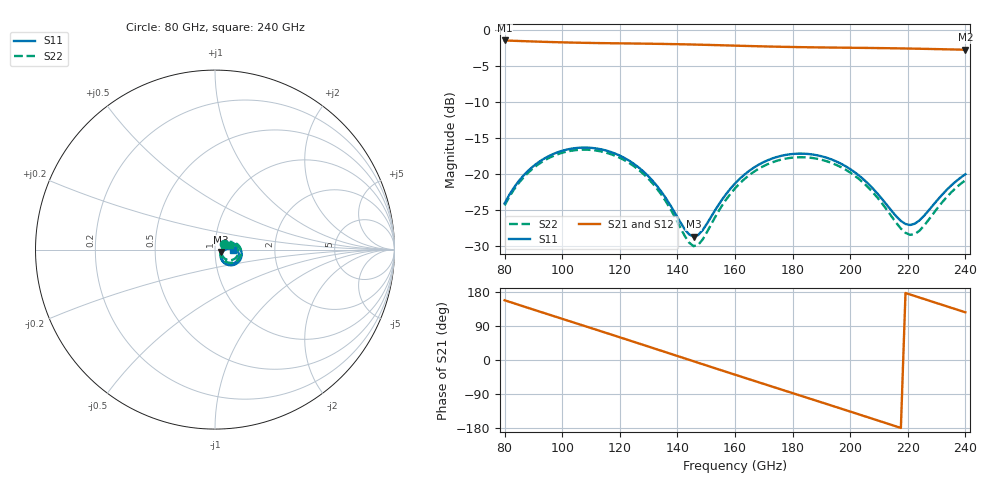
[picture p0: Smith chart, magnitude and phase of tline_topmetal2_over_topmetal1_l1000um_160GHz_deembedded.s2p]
! Created with skrf 2.0.1 (http://scikit-rf.org).
# GHz S DB R 50.0
!freq dBS11 angS11 dBS21 angS21 dBS12 angS12 dBS22 angS22
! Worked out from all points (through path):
!   101 points, 80 GHz to 240 GHz, reference 50 ohm
!   highest |S21| = -1.46 dB at 80 GHz (marker M1); lowest = -2.7 dB at 240 GHz (marker M2)
!   group delay of S21, straight-line fit = 6.8 ps
!   lowest |S11| = -28.7 dB at 145.6 GHz (marker M3), VSWR 1.08, Z = 53.5 - j1.48 ohm
!   |S11| at or under -10 dB: start of sweep to end of sweep
!   |S22| runs from -30.0 to -16.6 dB; largest |S21 - S12| = 1.4e-15
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80  -24.09 26.9  -1.46 157.7  -1.46 157.7  -24.37 31.8
84.8  -21.05 23.9  -1.53 145.8  -1.53 145.8  -21.31 29.1
91.2  -18.54 14.5  -1.62 130.1  -1.62 130.1  -18.81 20.0
99.2  -16.88 -0.1  -1.71 110.6  -1.71 110.6  -17.16 5.9
107.2  -16.34 -15.6  -1.79 91.1  -1.79 91.1  -16.63 -9.1
120  -17.45 -39.6  -1.86 59.9  -1.86 59.9  -17.76 -32.7
128  -19.59 -52.0  -1.90 40.2  -1.90 40.2  -19.93 -45.2
134.4  -22.45 -57.3  -1.94 24.4  -1.94 24.4  -22.85 -51.0
142.4  -27.59 -42.3  -2.00 4.6  -2.00 4.6  -28.50 -37.1
145.6  -28.71 -22.2  -2.03 -3.3  -2.03 -3.3  -30.03 -14.9
148.8  -27.79 -1.6  -2.06 -11.2  -2.06 -11.2  -29.09 9.2
160  -21.33 13.2  -2.18 -38.7  -2.18 -38.7  -22.01 26.1
168  -18.77 3.5  -2.27 -58.3  -2.27 -58.3  -19.33 16.4
174.4  -17.66 -6.8  -2.33 -73.8  -2.33 -73.8  -18.19 6.2
187.2  -17.31 -28.9  -2.42 -104.9  -2.42 -104.9  -17.80 -15.8
193.6  -18.00 -39.4  -2.45 -120.5  -2.45 -120.5  -18.48 -26.3
201.6  -19.77 -50.4  -2.48 -140.0  -2.48 -140.0  -20.26 -37.5
214.4  -25.14 -49.1  -2.54 -171.4  -2.54 -171.4  -25.92 -38.0
219.2  -26.95 -32.3  -2.58 176.8  -2.58 176.8  -28.18 -20.6
222.4  -26.92 -17.1  -2.60 168.9  -2.60 168.9  -28.36 -3.2
230.4  -23.57 3.3  -2.67 149.3  -2.67 149.3  -24.70 21.0
240  -20.04 -0.2  -2.75 125.8  -2.75 125.8  -20.87 17.8
